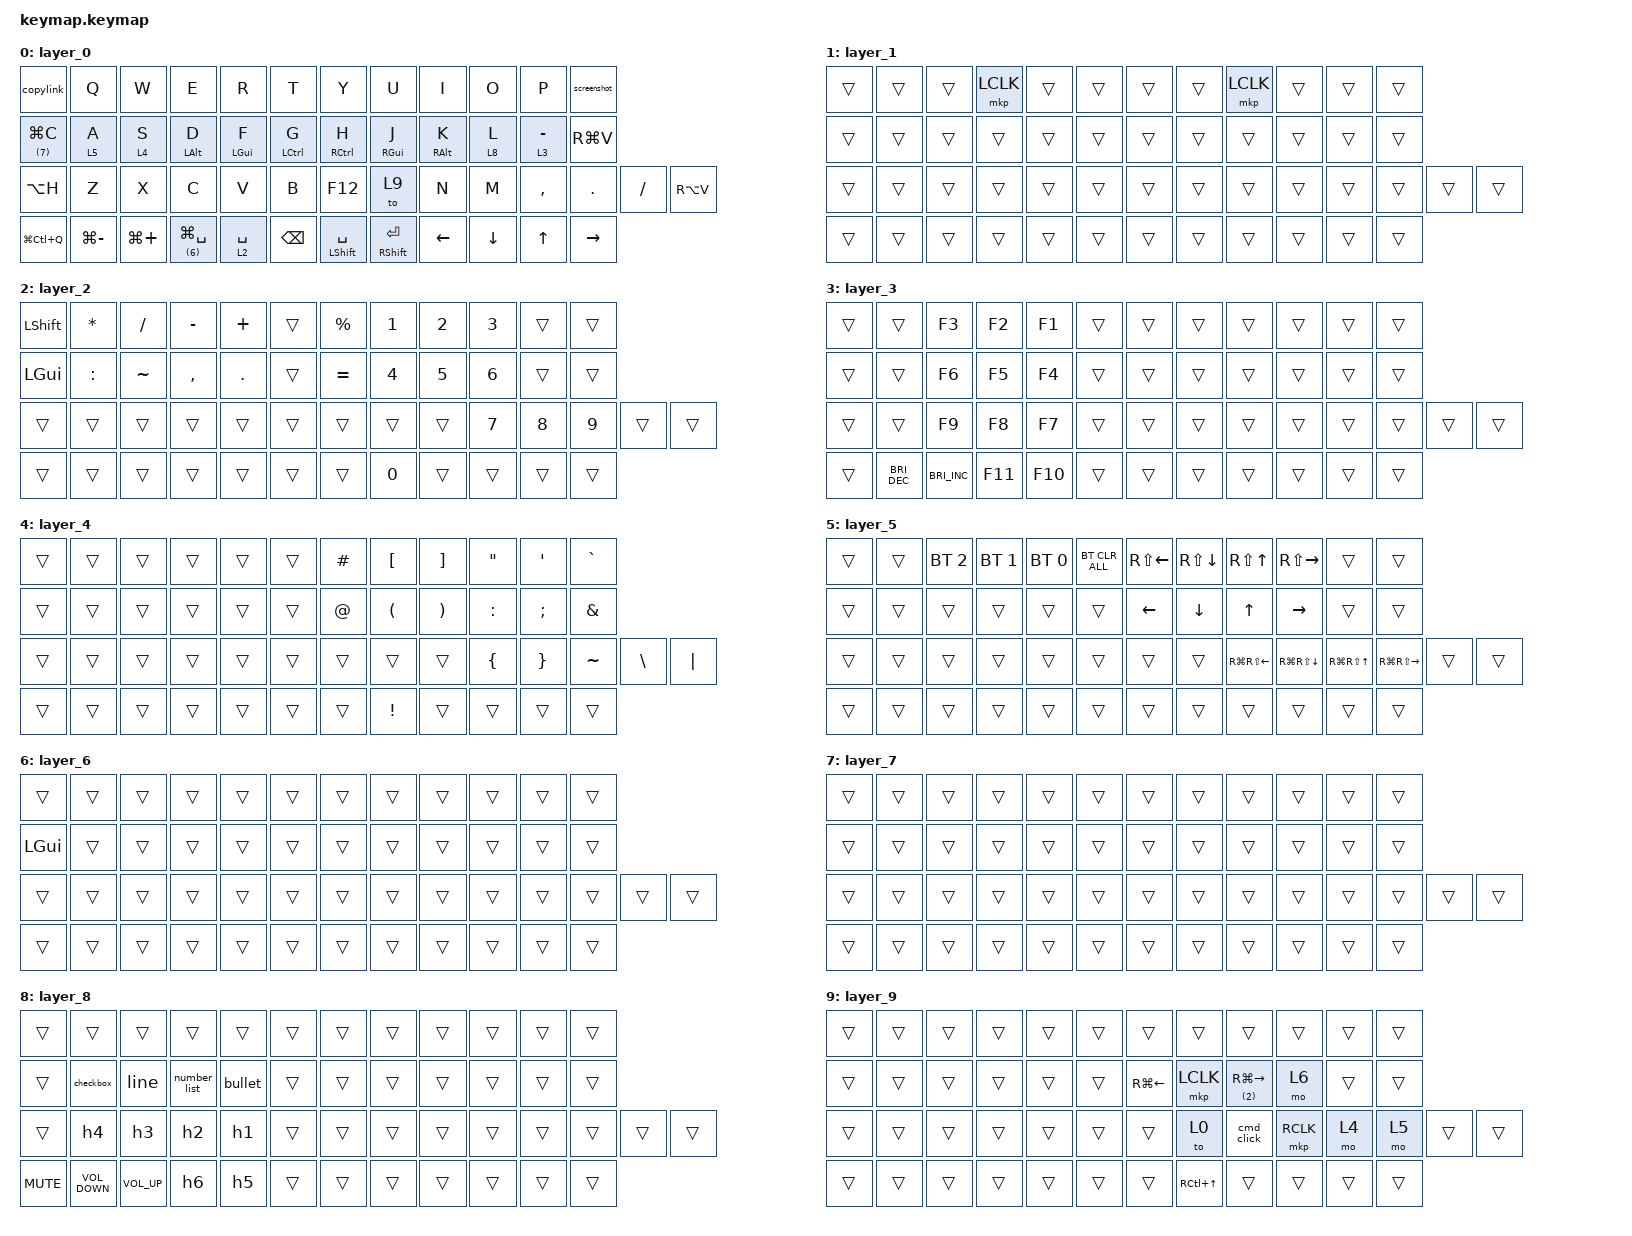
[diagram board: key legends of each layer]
#define ZMK_POINTING_DEFAULT_SCRL_VAL 80  // 既定10の8倍(ズームイン/アウトの速度アップ用)

#include <behaviors.dtsi>
#include <dt-bindings/zmk/bt.h>
#include <dt-bindings/zmk/keys.h>
#include <dt-bindings/zmk/pointing.h>

/ {
    combos {
        compatible = "zmk,combos";

        IME_kana {
            bindings = <&kp LANG1>;
            key-positions = <20 19>;
        };

        IME_abc {
            bindings = <&kp LANG2>;
            key-positions = <15 16>;
        };

        escape {
            bindings = <&kp ESCAPE>;
            key-positions = <3 2>;
        };

        tab {
            bindings = <&kp TAB>;
            key-positions = <8 9>;
        };

        cmd_left {
            bindings = <&kp RG(LEFT_ARROW)>;
            key-positions = <15 14>;
        };

        cmd_right {
            bindings = <&kp RG(RIGHT_ARROW)>;
            key-positions = <20 21>;
        };

        cmd_clk {
            bindings = <&cmd_click>;
            key-positions = <19 3>;
        };

        alt_clk {
            bindings = <&alt_click>;
            key-positions = <20 3>;
        };

        right_click1 {
            bindings = <&mkp RCLK>;
            key-positions = <3 42>;
        };

        right_click2 {
            bindings = <&mkp RCLK>;
            key-positions = <42 8>;
        };
    };

    macros {
        bullet: copyBelow {
            compatible = "zmk,behavior-macro";
            #binding-cells = <0>;
            bindings = <&kp LANG2 &kp MINUS &kp SPACE &kp LANG1>;
            label = "COPYBELOW";
        };

        number_list: number_list {
            compatible = "zmk,behavior-macro";
            #binding-cells = <0>;
            bindings = <&kp LANG2 &kp NUMBER_1 &kp PERIOD &kp SPACE &kp LANG1>;
            label = "NUMBER_LIST";
        };

        h1: h1 {
            compatible = "zmk,behavior-macro";
            #binding-cells = <0>;
            bindings = <&kp LANG2 &kp HASH &kp SPACE &kp LANG1>;
            label = "H1";
        };

        h2: h2 {
            compatible = "zmk,behavior-macro";
            #binding-cells = <0>;
            bindings = <&kp LANG2 &kp HASH &kp HASH &kp SPACE &kp LANG1>;
            label = "H2";
        };

        h3: h3 {
            compatible = "zmk,behavior-macro";
            #binding-cells = <0>;
            bindings = <&kp LANG2 &kp HASH &kp HASH &kp HASH &kp SPACE &kp LANG1>;
            label = "H3";
        };

        h4: h4 {
            compatible = "zmk,behavior-macro";
            #binding-cells = <0>;
            bindings = <&kp LANG2 &kp HASH &kp HASH &kp HASH &kp HASH &kp SPACE &kp LANG1>;
            label = "H4";
        };

        checkbox: checkbox {
            compatible = "zmk,behavior-macro";
            #binding-cells = <0>;
            bindings = <&kp LANG2 &kp MINUS &kp SPACE &kp LEFT_BRACKET &kp SPACE &kp RIGHT_BRACKET &kp SPACE &kp LANG1>;
            label = "CHECKBOX";
        };

        line: line {
            compatible = "zmk,behavior-macro";
            #binding-cells = <0>;
            bindings = <&kp LANG2 &kp MINUS &kp MINUS &kp MINUS &kp RETURN &kp LANG1>;
            label = "LINE";
        };

        // 押している間、Cmdを押しっぱなしにしつつレイヤー7に入る。
        // 離すと両方同時に解除する

        cmd_layer7: cmd_layer7 {
            compatible = "zmk,behavior-macro";
            #binding-cells = <0>;
            bindings =
                <&macro_press>,
                <&kp LEFT_GUI>,
                <&macro_press>,
                <&mo 7>,
                <&macro_pause_for_release>,
                <&macro_release>,
                <&kp LEFT_GUI>,
                <&macro_release>,
                <&mo 7>;

            label = "CMD_LAYER7";
        };

        // ホールド開始時にLANG2(英数)を1回送ってからレイヤー2に入る。
        // 離すとレイヤー2を抜ける(LANG1には戻さない)

        lang2_layer2: lang2_layer2 {
            compatible = "zmk,behavior-macro";
            #binding-cells = <0>;
            bindings =
                <&macro_press>,
                <&mo 2>,
                <&macro_tap>,
                <&kp LANG2>,
                <&macro_pause_for_release>,
                <&macro_release>,
                <&mo 2>;

            label = "LANG2_LAYER2";
        };

        // Cmdを押しながら左クリックする

        cmd_click: cmd_click {
            compatible = "zmk,behavior-macro";
            #binding-cells = <0>;
            bindings =
                <&macro_press>,
                <&kp LEFT_GUI>,
                <&macro_tap>,
                <&mkp LCLK>,
                <&macro_release>,
                <&kp LEFT_GUI>;

            label = "CMD_CLICK";
        };

        // Altを押しながら左クリックする

        alt_click: alt_click {
            compatible = "zmk,behavior-macro";
            #binding-cells = <0>;
            bindings =
                <&macro_press>,
                <&kp LEFT_ALT>,
                <&macro_tap>,
                <&mkp LCLK>,
                <&macro_release>,
                <&kp LEFT_ALT>;

            label = "ALT_CLICK";
        };

        h5: h5 {
            compatible = "zmk,behavior-macro";
            #binding-cells = <0>;
            bindings = <&kp LANG2 &kp HASH &kp HASH &kp HASH &kp HASH &kp HASH &kp SPACE &kp LANG1>;
            label = "H5";
        };

        h6: h6 {
            compatible = "zmk,behavior-macro";
            #binding-cells = <0>;
            bindings = <&kp LANG2 &kp HASH &kp HASH &kp HASH &kp HASH &kp HASH &kp HASH &kp SPACE &kp LANG1>;
            label = "H6";
        };

        // Ctrlを押しながら下スクロールし続ける(ズームイン)。離すと両方止まる

        zoomout: zoom_in {
            compatible = "zmk,behavior-macro";
            #binding-cells = <0>;
            bindings =
                <&macro_press>,
                <&kp LEFT_CONTROL>,
                <&macro_press>,
                <&msc SCRL_DOWN>,
                <&macro_pause_for_release>,
                <&macro_release>,
                <&kp LEFT_CONTROL>,
                <&macro_release>,
                <&msc SCRL_DOWN>;

            label = "ZOOM_IN";
        };

        // Ctrlを押しながら上スクロールし続ける(ズームアウト)。離すと両方止まる

        zoomin: zoom_out {
            compatible = "zmk,behavior-macro";
            #binding-cells = <0>;
            bindings =
                <&macro_press>,
                <&kp LEFT_CONTROL>,
                <&macro_press>,
                <&msc SCRL_UP>,
                <&macro_pause_for_release>,
                <&macro_release>,
                <&kp LEFT_CONTROL>,
                <&macro_release>,
                <&msc SCRL_UP>;

            label = "ZOOM_OUT";
        };

        copylink: copylink {
            compatible = "zmk,behavior-macro";
            #binding-cells = <0>;
            bindings = <&kp LG(L) &kp LG(C) &kp ESCAPE &kp ESCAPE>;
            label = "COPYLINK";
        };
    };

    behaviors {
        screenshot: screenshot {
            compatible = "zmk,behavior-tap-dance";
            label = "SCREENSHOT";
            #binding-cells = <0>;
            bindings = <&kp LG(LS(N5))>, <&kp LG(LS(NUMBER_4))>;

            tapping-term-ms = <150>;
        };

        lt_tab: lt_tab {
            compatible = "zmk,behavior-hold-tap";
            label = "LT_TAB";
            bindings = <&mo>, <&kp>;

            #binding-cells = <2>;
            tapping-term-ms = <200>;
            flavor = "balanced";
            hold-trigger-key-positions = <32 18 6 7 8 9 10 11 19 20 21 22 23 33 34 35 36 37 46 47 48 49 31 45 0 1 2 3 4 5>;
        };

        home_row_mt_left: home_row_mt_left {
            compatible = "zmk,behavior-hold-tap";
            label = "HOME_ROW_MT_LEFT";
            bindings = <&kp>, <&kp>;

            #binding-cells = <2>;
            tapping-term-ms = <280>;
            quick-tap-ms = <175>;
            require-prior-idle-ms = <100>;
            flavor = "balanced";
            hold-trigger-on-release;
            hold-trigger-key-positions = <6 6 7 8 9 10 11 18 19 20 21 22 23 32 33 34 35 36 37 46 47 48 49 31 45>;
        };

        home_row_mt_right: home_row_mt_right {
            compatible = "zmk,behavior-hold-tap";
            label = "HOME_ROW_MT_RIGHT";
            bindings = <&kp>, <&kp>;

            #binding-cells = <2>;
            tapping-term-ms = <280>;
            quick-tap-ms = <175>;
            require-prior-idle-ms = <100>;
            flavor = "balanced";
            hold-trigger-on-release;
            hold-trigger-key-positions = <0 1 2 3 4 5 12 13 14 15 16 17 24 25 26 27 28 29 30 38 39 40 41 42 43 44>;
        };

        home_row_lt_right: home_row_lt_right {
            compatible = "zmk,behavior-hold-tap";
            label = "HOME_ROW_LT_RIGHT";
            bindings = <&mo>, <&kp>;

            #binding-cells = <2>;
            tapping-term-ms = <200>;
            quick-tap-ms = <175>;
            require-prior-idle-ms = <100>;
            flavor = "balanced";
            hold-trigger-on-release;
            hold-trigger-key-positions = <0 1 2 3 4 5 12 13 14 15 16 17 24 25 26 27 28 29 30 38 39 40 41 42 43 44>;
        };

        home_row_lt_left: home_row_lt_left {
            compatible = "zmk,behavior-hold-tap";
            label = "HOME_ROW_LT_LEFT";
            bindings = <&mo>, <&kp>;

            #binding-cells = <2>;
            tapping-term-ms = <200>;
            quick-tap-ms = <175>;
            require-prior-idle-ms = <100>;
            flavor = "balanced";
            hold-trigger-on-release;
            hold-trigger-key-positions = <6 6 7 8 9 10 11 18 19 20 21 22 23 32 33 34 35 36 37 46 47 48 49 31 45>;
        };

        left_click: left_click {
            compatible = "zmk,behavior-hold-tap";
            label = "LEFT_CLICK";
            bindings = <&kp>, <&mkp>;

            #binding-cells = <2>;
            tapping-term-ms = <280>;
            quick-tap-ms = <175>;
            require-prior-idle-ms = <100>;
            flavor = "balanced";
            hold-trigger-on-release;
        };

        // SQTキー専用。タップでアポストロフィ、ホールドでcmd_layer7
        // (Cmd押しっぱなし+レイヤー7)。home_row_lt_leftはA/Sと共用のため
        // 別ビヘイビアとして用意し、パラメータはhome_row_lt_leftと揃える

        home_row_lt_left_cmd: home_row_lt_left_cmd {
            compatible = "zmk,behavior-hold-tap";
            label = "HOME_ROW_LT_LEFT_CMD";
            bindings = <&cmd_layer7>, <&kp>;

            #binding-cells = <2>;
            tapping-term-ms = <200>;
            quick-tap-ms = <175>;
            require-prior-idle-ms = <100>;
            flavor = "balanced";
            hold-trigger-on-release;
            hold-trigger-key-positions = <6 6 7 8 9 10 11 18 19 20 21 22 23 32 33 34 35 36 37 46 47 48 49 31 45>;
        };

        // Spaceキー専用。タップで純粋なSpace、ホールドでlang2_layer2
        // (LANG2を1回送ってからレイヤー2)。既存のlt(コアビヘイビア)を
        // 直接使えないため、同じ役割の専用ビヘイビアとして用意する

        lt_mkp: lt_mkp {
            compatible = "zmk,behavior-hold-tap";
            label = "LT_MKP";
            bindings = <&mo>, <&mkp>;

            #binding-cells = <2>;
            tapping-term-ms = <90000>;
            quick-tap-ms = <175>;
        };

        lt_rightclk: lt_rightclk {
            compatible = "zmk,behavior-hold-tap";
            label = "LT_RIGHTCLK";
            bindings = <&mo>, <&mkp>;

            #binding-cells = <2>;
            tapping-term-ms = <120>;
            quick-tap-ms = <175>;
        };
    };

    keymap {
        compatible = "zmk,keymap";

        layer_0 {
            bindings = <
&copylink                    &kp Q                  &kp W                  &kp E                         &kp R                         &kp T                             &kp Y                               &kp U                           &kp I                           &kp O                   &kp P                       &screenshot
&home_row_lt_left (7) LG(C)  &home_row_lt_left 5 A  &home_row_lt_left 4 S  &home_row_mt_left LEFT_ALT D  &home_row_mt_left LEFT_GUI F  &home_row_mt_left LEFT_CONTROL G  &home_row_mt_right RIGHT_CONTROL H  &home_row_mt_right RIGHT_GUI J  &home_row_mt_right RIGHT_ALT K  &home_row_lt_right 8 L  &home_row_lt_right 3 MINUS  &kp RG(V)
&kp LA(H)                    &kp Z                  &kp X                  &kp C                         &kp V                         &kp B                             &kp F12                             &to 9                           &kp N                           &kp M                   &kp COMMA                   &kp PERIOD       &kp SLASH  &kp RA(V)
&kp LG(LC(Q))                &kp LG(MINUS)          &kp LG(PLUS)           &lt (6) LG(SPACE)             &lt 2 SPACE                   &kp BACKSPACE                     &mt LEFT_SHIFT SPACE                &mt RIGHT_SHIFT ENTER           &kp LEFT_ARROW                  &kp DOWN_ARROW          &kp UP_ARROW                &kp RIGHT_ARROW
            >;
        };

        layer_1 {
            bindings = <
&trans  &trans  &trans  &mkp LCLK  &trans  &trans  &trans  &trans  &mkp LCLK  &trans  &trans  &trans
&trans  &trans  &trans  &trans     &trans  &trans  &trans  &trans  &trans     &trans  &trans  &trans
&trans  &trans  &trans  &trans     &trans  &trans  &trans  &trans  &trans     &trans  &trans  &trans  &trans  &trans
&trans  &trans  &trans  &trans     &trans  &trans  &trans  &trans  &trans     &trans  &trans  &trans
            >;
        };

        layer_2 {
            bindings = <
&kp LEFT_SHIFT  &kp ASTERISK  &kp SLASH  &kp MINUS  &kp PLUS    &trans  &kp PERCENT  &kp NUMBER_1  &kp NUMBER_2  &kp NUMBER_3  &trans        &trans
&kp LEFT_GUI    &kp COLON     &kp TILDE  &kp COMMA  &kp PERIOD  &trans  &kp EQUAL    &kp NUMBER_4  &kp NUMBER_5  &kp NUMBER_6  &trans        &trans
&trans          &trans        &trans     &trans     &trans      &trans  &trans       &trans        &trans        &kp NUMBER_7  &kp NUMBER_8  &kp NUMBER_9  &trans  &trans
&trans          &trans        &trans     &trans     &trans      &trans  &trans       &kp NUMBER_0  &trans        &trans        &trans        &trans
            >;
        };

        layer_3 {
            bindings = <
&trans  &trans         &kp F3         &kp F2   &kp F1   &trans  &trans  &trans  &trans  &trans  &trans  &trans
&trans  &trans         &kp F6         &kp F5   &kp F4   &trans  &trans  &trans  &trans  &trans  &trans  &trans
&trans  &trans         &kp F9         &kp F8   &kp F7   &trans  &trans  &trans  &trans  &trans  &trans  &trans  &trans  &trans
&trans  &kp C_BRI_DEC  &kp C_BRI_INC  &kp F11  &kp F10  &trans  &trans  &trans  &trans  &trans  &trans  &trans
            >;
        };

        layer_4 {
            bindings = <
&trans  &trans  &trans  &trans  &trans  &trans  &kp HASH     &kp LEFT_BRACKET      &kp RIGHT_BRACKET      &kp DOUBLE_QUOTES  &kp SQT          &kp GRAVE
&trans  &trans  &trans  &trans  &trans  &trans  &kp AT_SIGN  &kp LEFT_PARENTHESIS  &kp RIGHT_PARENTHESIS  &kp COLON          &kp SEMICOLON    &kp AMPERSAND
&trans  &trans  &trans  &trans  &trans  &trans  &trans       &trans                &trans                 &kp LEFT_BRACE     &kp RIGHT_BRACE  &kp TILDE      &kp BACKSLASH  &kp PIPE
&trans  &trans  &trans  &trans  &trans  &trans  &trans       &kp EXCLAMATION       &trans                 &trans             &trans           &trans
            >;
        };

        layer_5 {
            bindings = <
&trans  &trans  &bt BT_SEL 2  &bt BT_SEL 1  &bt BT_SEL 0  &bt BT_CLR_ALL  &kp RS(LEFT_ARROW)  &kp RS(DOWN_ARROW)  &kp RS(UP_ARROW)        &kp RS(RIGHT_ARROW)     &trans                &trans
&trans  &trans  &trans        &trans        &trans        &trans          &kp LEFT_ARROW      &kp DOWN_ARROW      &kp UP_ARROW            &kp RIGHT_ARROW         &trans                &trans
&trans  &trans  &trans        &trans        &trans        &trans          &trans              &trans              &kp RG(RS(LEFT_ARROW))  &kp RG(RS(DOWN_ARROW))  &kp RG(RS(UP_ARROW))  &kp RG(RS(RIGHT_ARROW))  &trans  &trans
&trans  &trans  &trans        &trans        &trans        &trans          &trans              &trans              &trans                  &trans                  &trans                &trans
            >;
        };

        layer_6 {
            bindings = <
&trans        &trans  &trans  &trans  &trans  &trans  &trans  &trans  &trans  &trans  &trans  &trans
&kp LEFT_GUI  &trans  &trans  &trans  &trans  &trans  &trans  &trans  &trans  &trans  &trans  &trans
&trans        &trans  &trans  &trans  &trans  &trans  &trans  &trans  &trans  &trans  &trans  &trans  &trans  &trans
&trans        &trans  &trans  &trans  &trans  &trans  &trans  &trans  &trans  &trans  &trans  &trans
            >;
        };

        layer_7 {
            bindings = <
&trans  &trans  &trans  &trans  &trans  &trans  &trans  &trans  &trans  &trans  &trans  &trans
&trans  &trans  &trans  &trans  &trans  &trans  &trans  &trans  &trans  &trans  &trans  &trans
&trans  &trans  &trans  &trans  &trans  &trans  &trans  &trans  &trans  &trans  &trans  &trans  &trans  &trans
&trans  &trans  &trans  &trans  &trans  &trans  &trans  &trans  &trans  &trans  &trans  &trans
            >;
        };

        layer_8 {
            bindings = <
&trans      &trans             &trans           &trans        &trans   &trans  &trans  &trans  &trans  &trans  &trans  &trans
&trans      &checkbox          &line            &number_list  &bullet  &trans  &trans  &trans  &trans  &trans  &trans  &trans
&trans      &h4                &h3              &h2           &h1      &trans  &trans  &trans  &trans  &trans  &trans  &trans  &trans  &trans
&kp K_MUTE  &kp C_VOLUME_DOWN  &kp C_VOLUME_UP  &h6           &h5      &trans  &trans  &trans  &trans  &trans  &trans  &trans
            >;
        };

        layer_9 {
            bindings = <
&trans  &trans  &trans  &trans  &trans  &trans  &trans              &trans            &trans                   &trans     &trans  &trans
&trans  &trans  &trans  &trans  &trans  &trans  &kp RG(LEFT_ARROW)  &mkp LCLK         &lt (2) RG(RIGHT_ARROW)  &mo 6      &trans  &trans
&trans  &trans  &trans  &trans  &trans  &trans  &trans              &to 0             &cmd_click               &mkp RCLK  &mo 4   &mo 5   &trans  &trans
&trans  &trans  &trans  &trans  &trans  &trans  &trans              &kp RC(UP_ARROW)  &trans                   &trans     &trans  &trans
            >;
        };
    };
};
